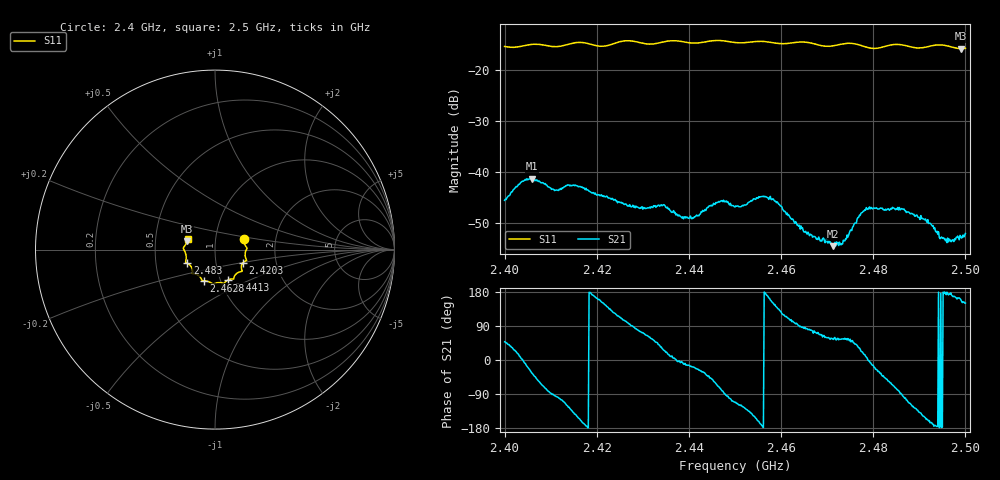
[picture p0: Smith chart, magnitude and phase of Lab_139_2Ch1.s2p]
# Hz S RI R 50
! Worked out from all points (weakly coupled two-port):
!   601 points, 2.4 GHz to 2.5 GHz, reference 50 ohm
!   highest |S21| = -41.30 dB at 2.406 GHz (marker M1); lowest = -54.6 dB at 2.4713 GHz (marker M2)
!   lowest |S11| = -15.8 dB at 2.499 GHz (marker M3), VSWR 1.39, Z = 36.4 + j3.38 ohm
!   |S11| at or under -10 dB: start of sweep to end of sweep
!   S12 and S22 are empty: the file has one direction only
!   S11 on the Smith chart (normalised r, x): 2.4 GHz: 1.37, +0.16; 2.4203 GHz: 1.35, -0.21; 2.4413 GHz: 1.09, -0.38; 2.4628 GHz: 0.83, -0.30; 2.483 GHz: 0.72, -0.11; 2.5 GHz: 0.73, +0.09
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2.4e9  0.1604 0.0567  0.00352 0.00392  0 0  0 0
2.406e9  0.1782 0.0101  0.007 -0.00501  0 0  0 0
2.411167e9  0.168 -0.0227  -0.00074 -0.00659  0 0  0 0
2.416667e9  0.176 -0.0613  -0.00668 -0.00229  0 0  0 0
2.420333e9  0.1552 -0.0738  -0.00559 0.00209  0 0  0 0
2.427167e9  0.151 -0.1211  -0.000401 0.00476  0 0  0 0
2.433333e9  0.108 -0.1486  0.00358 0.00309  0 0  0 0
2.441333e9  0.0741 -0.168  0.00339 -0.00129  0 0  0 0
2.446667e9  0.0482 -0.1887  0.00144 -0.00486  0 0  0 0
2.45e9  0.0295 -0.1839  -0.00168 -0.0042  0 0  0 0
2.457167e9  -0.0178 -0.1878  -0.00544 0.00119  0 0  0 0
2.462833e9  -0.0631 -0.1748  -0.000494 0.00319  0 0  0 0
2.466667e9  -0.0743 -0.1674  0.000509 0.00234  0 0  0 0
2.471333e9  -0.1052 -0.1372  0.00109 0.00152  0 0  0 0
2.4735e9  -0.121 -0.1344  0.0012 0.00176  0 0  0 0
2.478167e9  -0.1246 -0.1147  0.00412 0.00104  0 0  0 0
2.483e9  -0.1548 -0.0765  0.00271 -0.00333  0 0  0 0
2.483333e9  -0.1569 -0.0755  0.00244 -0.00359  0 0  0 0
2.490833e9  -0.1648 -0.0188  -0.00295 -0.00182  0 0  0 0
2.4955e9  -0.1741 0.0133  -0.00223 2.02e-05  0 0  0 0
2.499e9  -0.1555 0.0453  -0.00218 0.00082  0 0  0 0
2.5e9  -0.1526 0.0586  -0.00215 0.00125  0 0  0 0
